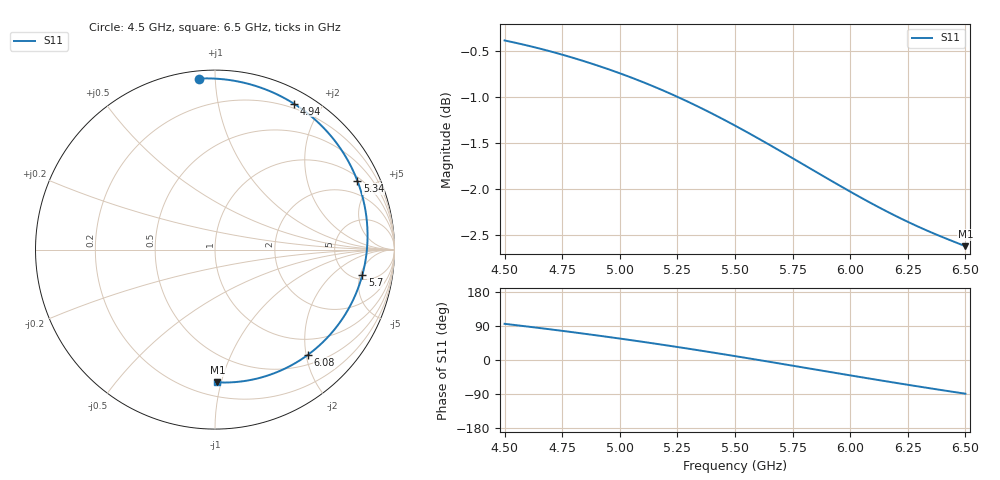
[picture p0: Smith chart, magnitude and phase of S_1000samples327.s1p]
! TOUCHSTONE file generated by CST MICROWAVE STUDIO
! Date and time: Thu Oct 27 19:12:08 2022
! Project name: L.cst
! Parameters = {Di=1.27; Epsilon_r=1.56; InnerDiameter=1.27; Length=2; Lf=10; Lg=60; OuterConductorThickness=0.2921; OuterDiameter=3.6; Wf=3; Wp=41.2; de=1.5; df=6.8; g=0.8; gx=2.72729; gy=4.41387; h=2.34; hf=1.524; px=10.3563; py=11.9572; w=9.7; wx=7.62905; wy=7.54337}
! Header version: 2018
! Port assignment regex: !\s*Touchstone port\s*([0-9]+)\s*=\s*(CST MWS port|CST DS port)\s*([0-9]+|Zmin|Zmax)\s*\(\"(.*)\"\)(\s*mode\s*([0-9]+))?.*
! Touchstone port assignment:
! Touchstone port 1 = CST MWS port 1 ("")
# GHz S DB R 50
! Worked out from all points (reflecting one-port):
!   101 points, 4.5 GHz to 6.5 GHz, reference 50 ohm
!   lowest |S11| = -2.6 dB at 6.5 GHz (marker M1), VSWR 6.68, Z = 14.9 - j48.7 ohm
!   phase of S11 starts at 95 deg and turns -184 deg over the sweep
!   S11 on the Smith chart (normalised r, x): 4.5 GHz: 0.04, +0.91; 4.94 GHz: 0.15, +1.67; 5.34 GHz: 1.18, +4.04; 5.7 GHz: 5.81, -5.43; 6.08 GHz: 0.67, -2.03; 6.5 GHz: 0.30, -0.97
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4.5  -0.38 95.4
4.58  -0.42 89.7
4.64  -0.46 85.3
4.76  -0.54 76.1
4.86  -0.62 68.2
4.94  -0.68 61.6
5  -0.74 56.6
5.06  -0.79 51.4
5.12  -0.85 46.1
5.2  -0.94 38.9
5.26  -1.01 33.4
5.34  -1.10 25.8
5.42  -1.20 18.1
5.5  -1.31 10.2
5.6  -1.45 0.2
5.7  -1.59 -9.9
5.76  -1.68 -16.0
5.82  -1.76 -22.2
5.88  -1.85 -28.3
5.94  -1.94 -34.4
6  -2.03 -40.5
6.08  -2.14 -48.6
6.16  -2.24 -56.6
6.26  -2.37 -66.4
6.32  -2.43 -72.1
6.38  -2.50 -77.8
6.44  -2.56 -83.4
6.5  -2.62 -88.9
